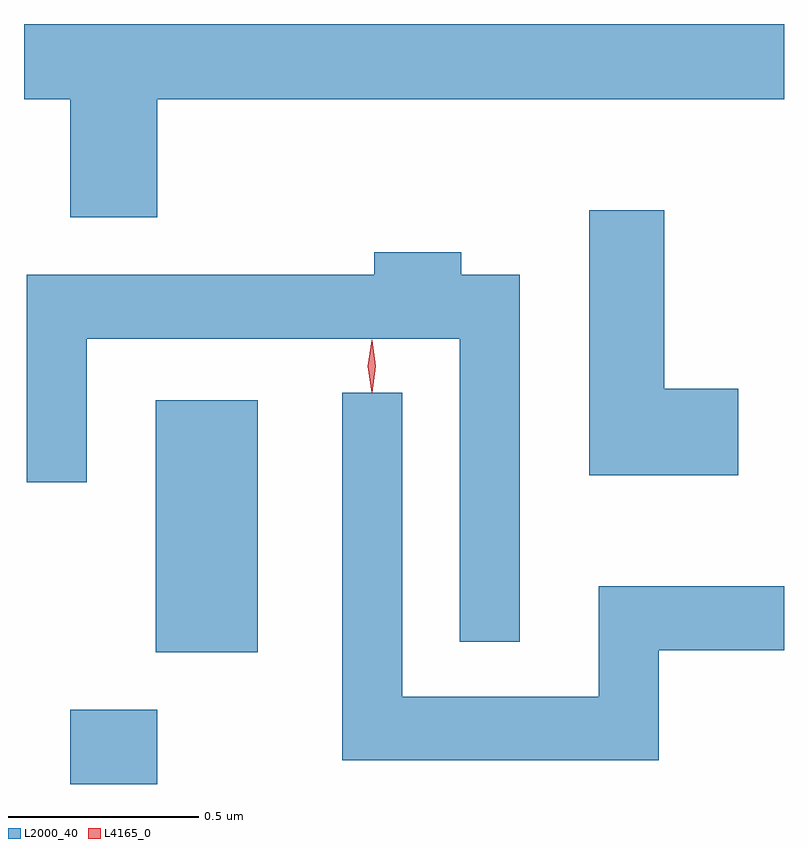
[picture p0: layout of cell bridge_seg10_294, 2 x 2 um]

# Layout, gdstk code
import gdstk
lib = gdstk.Library(unit=1e-6, precision=1e-09)
def R(c, l, rs):  # rectangles x0, y0, x1, y1
    for r in rs: c.add(gdstk.rectangle(r[:2], r[2:], *l))
def P(c, l, *ps):  # polygons
    for p in ps: c.add(gdstk.Polygon(p, *l))
L2000_40 = (2000, 40)
L4165_0 = (4165, 0)

bridge_seg10_294 = lib.new_cell('bridge_seg10_294')
R(bridge_seg10_294, L2000_40, [(1812.331,2096.574,1812.559,2096.769), (1812.556,2096.921,1812.824,2097.584)])
P(bridge_seg10_294, L2000_40, [(1812.559,2098.376),(1814.209,2098.376),(1814.209,2098.574),(1812.209,2098.574),(1812.209,2098.376),(1812.331,2098.376),(1812.331,2098.066),(1812.559,2098.066)],
  [(1814.089,2097.614),(1813.894,2097.614),(1813.894,2098.084),(1813.696,2098.084),(1813.696,2097.386),(1814.089,2097.386)],
  [(1813.514,2097.914),(1813.359,2097.914),(1813.359,2097.974),(1813.131,2097.974),(1813.131,2097.914),(1812.216,2097.914),(1812.216,2097.368),(1812.374,2097.368),(1812.374,2097.746),(1813.356,2097.746),(1813.356,2096.948),(1813.514,2096.948)],
  [(1813.879,2096.926),(1814.209,2096.926),(1814.209,2097.094),(1813.721,2097.094),(1813.721,2096.804),(1813.204,2096.804),(1813.204,2097.603),(1813.046,2097.603),(1813.046,2096.636),(1813.879,2096.636)])
P(bridge_seg10_294, L4165_0, [(1813.124,2097.604),(1813.124,2097.604),(1813.114,2097.673),(1813.124,2097.742),(1813.124,2097.743),(1813.125,2097.742),(1813.134,2097.673),(1813.125,2097.604)])

lib.write_gds('bridge_seg10_294.gds')
